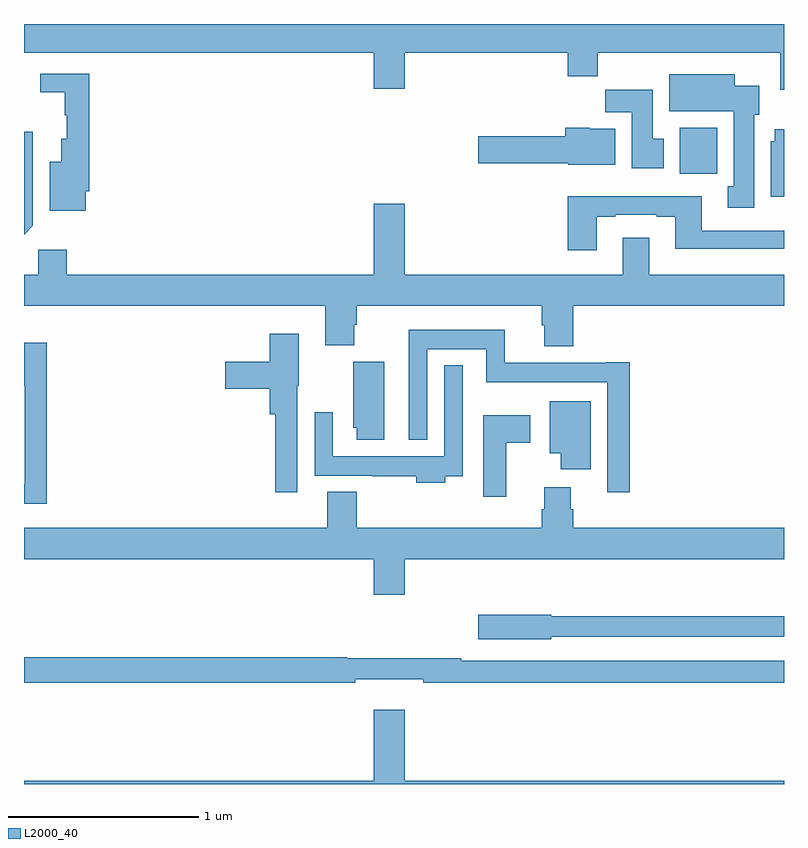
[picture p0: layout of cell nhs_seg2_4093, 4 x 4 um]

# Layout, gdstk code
import gdstk
lib = gdstk.Library(unit=1e-6, precision=1e-09)
def R(c, l, rs):  # rectangles x0, y0, x1, y1
    for r in rs: c.add(gdstk.rectangle(r[:2], r[2:], *l))
def P(c, l, *ps):  # polygons
    for p in ps: c.add(gdstk.Polygon(p, *l))
L2000_40 = (2000, 40)

nhs_seg2_4093 = lib.new_cell('nhs_seg2_4093')
R(nhs_seg2_4093, L2000_40, [(334.451,635.012,334.648,635.254)])
P(nhs_seg2_4093, L2000_40, [(335,635.8),(331,635.8),(331,635.648),(332.84,635.648),(332.84,635.46),(333.004,635.46),(333.004,635.648),(333.863,635.648),(333.863,635.524),(334.019,635.524),(334.019,635.648),(334.979,635.648),(334.979,635.454),(335,635.454)],
  [(331.324,634.921),(331.343,634.921),(331.343,635.538),(331.086,635.538),(331.086,635.44),(331.215,635.44),(331.215,635.319),(331.226,635.319),(331.226,635.197),(331.196,635.197),(331.196,635.074),(331.136,635.074),(331.136,634.817),(331.324,634.817)],
  [(334.843,635.322),(334.87,635.322),(334.87,635.476),(334.741,635.476),(334.741,635.536),(334.397,635.536),(334.397,635.342),(334.736,635.342),(334.736,634.946),(334.703,634.946),(334.703,634.833),(334.843,634.833)],
  [(334.366,635.196),(334.309,635.196),(334.309,635.454),(334.06,635.454),(334.06,635.336),(334.199,635.336),(334.199,635.04),(334.366,635.04)],
  [(334.111,635.248),(333.978,635.248),(333.978,635.254),(333.848,635.254),(333.848,635.208),(333.39,635.208),(333.39,635.066),(333.864,635.066),(333.864,635.06),(334.111,635.06)],
  [(335,635.245),(334.952,635.245),(334.952,635.184),(334.931,635.184),(334.931,634.892),(335,634.892)],
  [(331.047,634.737),(331.047,635.233),(331,635.233),(331,634.69)],
  [(334.015,634.785),(334.111,634.785),(334.111,634.797),(334.331,634.797),(334.331,634.785),(334.427,634.785),(334.427,634.616),(335,634.616),(335,634.713),(334.567,634.713),(334.567,634.894),(333.863,634.894),(333.863,634.608),(334.015,634.608)],
  [(333.89,634.316),(335,634.316),(335,634.48),(334.291,634.48),(334.291,634.675),(334.151,634.675),(334.151,634.48),(333.004,634.48),(333.004,634.855),(332.84,634.855),(332.84,634.48),(331.226,634.48),(331.226,634.612),(331.074,634.612),(331.074,634.48),(331,634.48),(331,634.316),(332.585,634.316),(332.585,634.108),(332.737,634.108),(332.737,634.217),(332.75,634.217),(332.75,634.316),(333.725,634.316),(333.725,634.215),(333.737,634.215),(333.737,634.103),(333.89,634.103)],
  [(334.187,634.021),(334.064,634.021),(334.064,634.018),(333.53,634.018),(333.53,634.192),(333.026,634.192),(333.026,633.611),(333.123,633.611),(333.123,634.088),(333.432,634.088),(333.432,633.914),(334.071,633.914),(334.071,633.336),(334.187,633.336)],
  [(332.439,633.897),(332.446,633.897),(332.446,634.171),(332.294,634.171),(332.294,634.023),(332.058,634.023),(332.058,633.881),(332.294,633.881),(332.294,633.746),(332.323,633.746),(332.323,633.336),(332.439,633.336)],
  [(331.121,634.123),(331,634.123),(331,633.897),(331.005,633.897),(331.005,633.381),(331,633.381),(331,633.276),(331.121,633.276)],
  [(332.896,634.023),(332.732,634.023),(332.732,633.675),(332.75,633.675),(332.75,633.612),(332.896,633.612)],
  [(333.217,633.42),(333.309,633.42),(333.309,634.003),(333.213,634.003),(333.213,633.526),(332.625,633.526),(332.625,633.757),(332.529,633.757),(332.529,633.422),(332.833,633.422),(332.833,633.42),(333.065,633.42),(333.065,633.386),(333.217,633.386)],
  [(333.982,633.814),(333.767,633.814),(333.767,633.542),(333.824,633.542),(333.824,633.456),(333.982,633.456)],
  [(333.538,633.595),(333.664,633.595),(333.664,633.742),(333.416,633.742),(333.416,633.312),(333.538,633.312)],
  [(333.004,632.984),(335,632.984),(335,633.148),(333.89,633.148),(333.89,633.246),(333.877,633.246),(333.877,633.361),(333.737,633.361),(333.737,633.246),(333.725,633.246),(333.725,633.148),(332.75,633.148),(332.75,633.337),(332.597,633.337),(332.597,633.148),(331,633.148),(331,632.984),(332.84,632.984),(332.84,632.796),(333.004,632.796)],
  [(333.774,632.574),(335,632.574),(335,632.683),(333.774,632.683),(333.774,632.691),(333.39,632.691),(333.39,632.561),(333.774,632.561)],
  [(332.744,632.351),(333.1,632.351),(333.1,632.332),(335,632.332),(335,632.448),(333.302,632.448),(333.302,632.461),(332.702,632.461),(332.702,632.468),(331,632.468),(331,632.332),(332.744,632.332)],
  [(335,631.816),(333.004,631.816),(333.004,632.191),(332.84,632.191),(332.84,631.816),(331,631.816),(331,631.8),(335,631.8)])

lib.write_gds('nhs_seg2_4093.gds')
